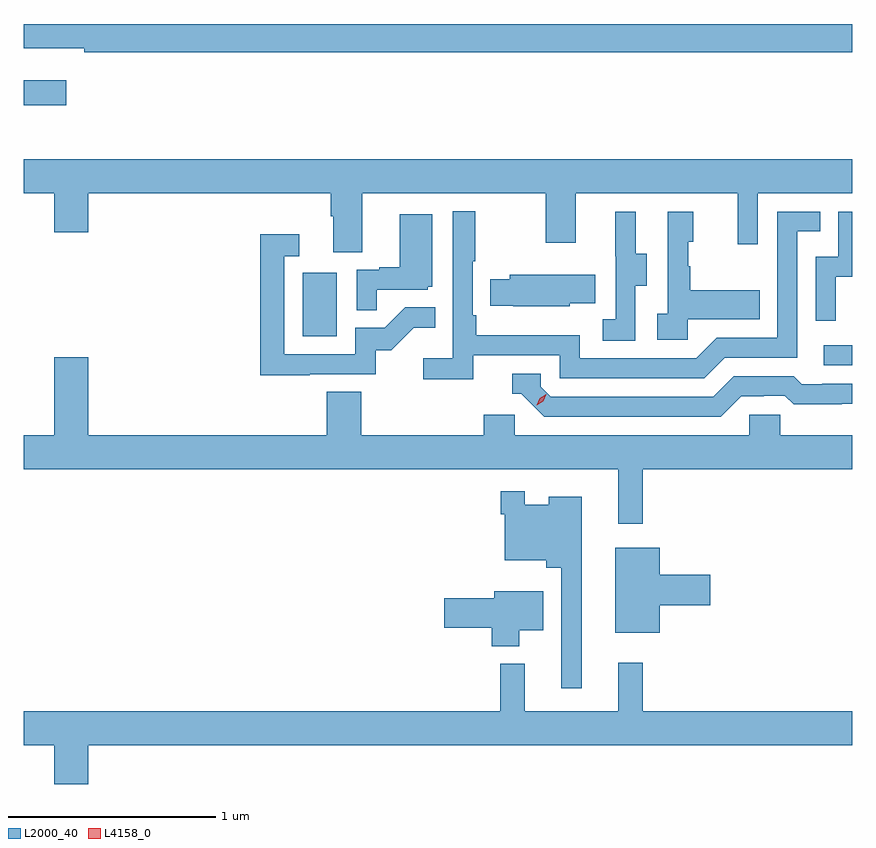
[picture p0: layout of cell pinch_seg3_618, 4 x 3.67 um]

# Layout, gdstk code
import gdstk
lib = gdstk.Library(unit=1e-6, precision=1e-09)
def R(c, l, rs):  # rectangles x0, y0, x1, y1
    for r in rs: c.add(gdstk.rectangle(r[:2], r[2:], *l))
def P(c, l, *ps):  # polygons
    for p in ps: c.add(gdstk.Polygon(p, *l))
L2000_40 = (2000, 40)
L4158_0 = (4158, 0)

pinch_seg3_618 = lib.new_cell('pinch_seg3_618')
R(pinch_seg3_618, L2000_40, [(1055.835,680.106,1055.973,680.202), (1053.32,680.244,1053.484,680.551), (1051.973,681.359,1052.179,681.481)])
P(pinch_seg3_618, L2000_40, [(1055.973,681.752),(1051.973,681.752),(1051.973,681.636),(1052.014,681.636),(1052.014,681.635),(1052.266,681.635),(1052.266,681.616),(1055.973,681.616)],
  [(1053.607,680.936),(1054.492,680.936),(1054.492,680.697),(1054.639,680.697),(1054.639,680.936),(1055.42,680.936),(1055.42,680.688),(1055.517,680.688),(1055.517,680.936),(1055.973,680.936),(1055.973,681.1),(1051.973,681.1),(1051.973,680.936),(1052.12,680.936),(1052.12,680.748),(1052.284,680.748),(1052.284,680.936),(1053.455,680.936),(1053.455,680.824),(1053.467,680.824),(1053.467,680.65),(1053.607,680.65)],
  [(1054.142,680.154),(1054.56,680.154),(1054.56,680.043),(1055.257,680.043),(1055.356,680.142),(1055.706,680.142),(1055.706,680.751),(1055.819,680.751),(1055.819,680.847),(1055.61,680.847),(1055.61,680.238),(1055.319,680.238),(1055.22,680.139),(1054.656,680.139),(1054.656,680.251),(1054.157,680.251),(1054.157,680.347),(1054.14,680.347),(1054.14,680.608),(1054.153,680.608),(1054.153,680.848),(1054.044,680.848),(1054.044,680.14),(1053.903,680.14),(1053.903,680.038),(1054.142,680.038)],
  [(1055.892,680.531),(1055.973,680.531),(1055.973,680.847),(1055.904,680.847),(1055.904,680.628),(1055.796,680.628),(1055.796,680.319),(1055.892,680.319)],
  [(1055.178,680.327),(1055.525,680.327),(1055.525,680.467),(1055.191,680.467),(1055.191,680.582),(1055.181,680.582),(1055.181,680.7),(1055.206,680.7),(1055.206,680.845),(1055.082,680.845),(1055.082,680.354),(1055.031,680.354),(1055.031,680.229),(1055.178,680.229)],
  [(1054.926,680.488),(1054.981,680.488),(1054.981,680.643),(1054.927,680.643),(1054.927,680.845),(1054.829,680.845),(1054.829,680.631),(1054.83,680.631),(1054.83,680.327),(1054.767,680.327),(1054.767,680.224),(1054.926,680.224)],
  [(1053.677,680.469),(1053.924,680.469),(1053.924,680.484),(1053.946,680.484),(1053.946,680.833),(1053.788,680.833),(1053.788,680.578),(1053.689,680.578),(1053.689,680.565),(1053.582,680.565),(1053.582,680.371),(1053.677,680.371)],
  [(1053.353,680.061),(1053.672,680.061),(1053.672,680.178),(1053.748,680.178),(1053.855,680.285),(1053.959,680.285),(1053.959,680.384),(1053.815,680.384),(1053.717,680.286),(1053.573,680.286),(1053.573,680.157),(1053.231,680.157),(1053.231,680.631),(1053.304,680.631),(1053.304,680.737),(1053.115,680.737),(1053.115,680.056),(1053.353,680.056)],
  [(1054.608,680.405),(1054.733,680.405),(1054.733,680.542),(1054.319,680.542),(1054.319,680.52),(1054.225,680.52),(1054.225,680.391),(1054.336,680.391),(1054.336,680.39),(1054.608,680.39)],
  [(1054.961,679.604),(1055.973,679.604),(1055.973,679.768),(1055.625,679.768),(1055.625,679.866),(1055.475,679.866),(1055.475,679.768),(1054.344,679.768),(1054.344,679.866),(1054.193,679.866),(1054.193,679.768),(1053.602,679.768),(1053.602,679.976),(1053.437,679.976),(1053.437,679.768),(1052.284,679.768),(1052.284,680.143),(1052.12,680.143),(1052.12,679.768),(1051.973,679.768),(1051.973,679.604),(1054.844,679.604),(1054.844,679.341),(1054.961,679.341)],
  [(1055.437,679.956),(1055.544,679.956),(1055.544,679.959),(1055.647,679.959),(1055.689,679.917),(1055.922,679.917),(1055.922,679.919),(1055.973,679.919),(1055.973,680.016),(1055.827,680.016),(1055.827,680.013),(1055.728,680.013),(1055.689,680.052),(1055.4,680.052),(1055.301,679.953),(1054.518,679.953),(1054.47,680.001),(1054.47,680.064),(1054.331,680.064),(1054.331,679.968),(1054.374,679.968),(1054.485,679.857),(1055.338,679.857)],
  [(1054.666,679.471),(1054.508,679.471),(1054.508,679.432),(1054.392,679.432),(1054.392,679.498),(1054.276,679.498),(1054.276,679.385),(1054.296,679.385),(1054.296,679.163),(1054.496,679.163),(1054.496,679.127),(1054.569,679.127),(1054.569,678.546),(1054.666,678.546)],
  [(1055.044,678.947),(1055.287,678.947),(1055.287,679.094),(1055.044,679.094),(1055.044,679.225),(1054.829,679.225),(1054.829,678.815),(1055.044,678.815)],
  [(1054.366,678.827),(1054.48,678.827),(1054.48,679.015),(1054.244,679.015),(1054.244,678.98),(1054.002,678.98),(1054.002,678.838),(1054.232,678.838),(1054.232,678.749),(1054.366,678.749)],
  [(1052.284,678.272),(1055.973,678.272),(1055.973,678.436),(1054.961,678.436),(1054.961,678.67),(1054.844,678.67),(1054.844,678.436),(1054.391,678.436),(1054.391,678.664),(1054.273,678.664),(1054.273,678.436),(1051.973,678.436),(1051.973,678.272),(1052.12,678.272),(1052.12,678.084),(1052.284,678.084)])
P(pinch_seg3_618, L4158_0, [(1054.449,679.913),(1054.449,679.913),(1054.465,679.946),(1054.496,679.966),(1054.496,679.966),(1054.496,679.965),(1054.48,679.932),(1054.449,679.913)])

lib.write_gds('pinch_seg3_618.gds')
